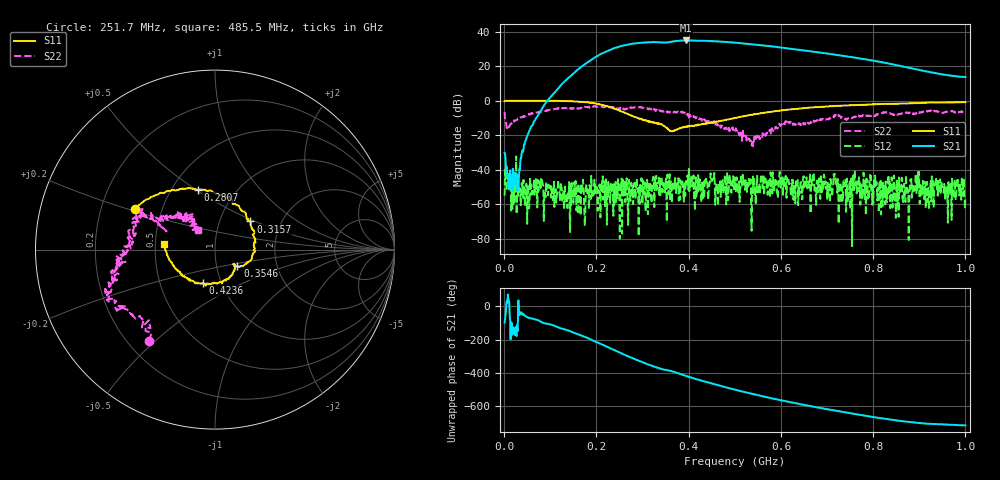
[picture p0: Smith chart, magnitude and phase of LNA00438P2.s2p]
! Created with skrf 1.9.0 (http://scikit-rf.org).
# Hz S RI R 50.0
!freq ReS11 ImS11 ReS21 ImS21 ReS12 ImS12 ReS22 ImS22
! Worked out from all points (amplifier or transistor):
!   1001 points, 1 MHz to 1 GHz, reference 50 ohm
!   highest |S21| = 35.0 dB at 394.6 MHz (marker M1)
!   |S21| within 3 dB of that: 257.6 MHz to 565.6 MHz (308 MHz wide, 74.8 % of centre)
!   unconditionally stable (mu >= 1): 4.562 MHz to 25.49 MHz; 26.46 MHz to 56.52 MHz; 221 MHz to end of sweep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
!   at 166.8 MHz: K = 1.31, MAG = 30.6 dB, |S12| = -48.3 dB
!   at 500.5 MHz: K = 2.55, MAG = 34.2 dB, |S12| = -48.5 dB
!   at 1 GHz: K = 9.42, MAG = 22.7 dB, |S12| = -57.2 dB
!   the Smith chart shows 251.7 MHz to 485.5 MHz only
!   S11 on the Smith chart (normalised r, x): 251.7 MHz: 0.35, +0.21; 280.7 MHz: 0.67, +0.51; 315.7 MHz: 1.40, +0.47; 354.6 MHz: 1.26, -0.24; 423.6 MHz: 0.82, -0.32; 485.5 MHz: 0.56, +0.04
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1000000  0.9733 0.000431  -0.00414 -0.0305  0.000327 0.00175  0.3792 0.2845
1.09891e8  0.5155 -0.8499  -0.8348 -1.543  -0.00019 -0.00182  0.4477 -0.369
1.67833e8  -0.2188 -0.9052  -9.764 -0.6636  0.000259 0.00259  0.0563 -0.6335
2.12788e8  -0.6708 -0.3507  -15.16 18.23  -0.00203 -0.00402  -0.1995 -0.6434
2.31769e8  -0.6397 -0.036  -8.068 29.63  -0.00179 -0.00336  -0.2867 -0.5764
2.51749e8  -0.4476 0.2284  6.616 37.09  0.00289 -0.00143  -0.368 -0.5074
2.8072e8  -0.0971 0.3339  31.92 32.23  -0.00205 -0.002  -0.5504 -0.29
3.15685e8  0.1974 0.1566  49.39 5.87  -0.00282 0.00259  -0.5809 -0.1249
3.34666e8  0.2233 -0.0066  48.7 -9.712  -0.00345 0.00338  -0.5169 -0.036
3.54646e8  0.1251 -0.0921  44.42 -20.71  -0.00463 0.00493  -0.4557 0.0546
3.72628e8  0.1108 -0.0906  42.38 -33.34  -0.00169 0.00125  -0.4301 0.1562
3.94606e8  0.0698 -0.1649  29.03 -47.8  0.00138 0.00384  -0.386 0.1898
4.23577e8  -0.0685 -0.1863  6.133 -54.96  0.00415 -0.000203  -0.2512 0.1798
4.5055e8  -0.194 -0.1324  -13.66 -52.11  0.00188 0.00432  -0.1569 0.1706
4.85515e8  -0.283 0.0308  -32.56 -37.9  0.000953 0.00091  -0.094 0.1096
5.005e8  -0.2926 0.1142  -38.01 -30.1  0.000692 -0.0037  -0.1066 0.083
5.4046e8  -0.2299 0.3289  -41.97 -8.57  0.00292 -0.000811  -0.0651 0.00516
5.88412e8  -0.0289 0.4977  -34.61 11.57  -0.000355 -0.00504  -0.149 -0.0902
6.67333e8  0.3572 0.5294  -12.54 23.41  -0.00314 -0.00237  -0.2492 -0.0405
7.53247e8  0.6581 0.3406  4.491 17.78  -0.00465 -0.00315  -0.3135 0.0327
8.34166e8  0.8038 0.0995  9.094 7.754  -0.000483 0.00304  -0.4282 0.0984
1e9  0.7929 -0.4499  4.844 0.327  0.000468 0.0013  -0.2075 0.4215
